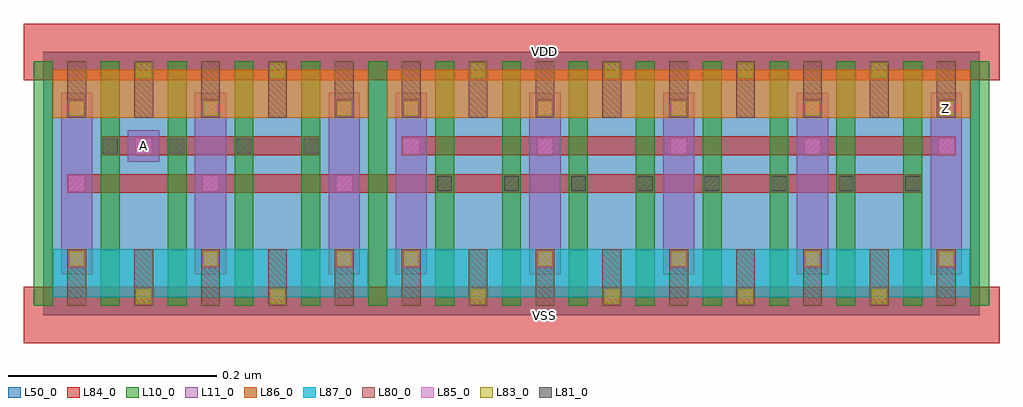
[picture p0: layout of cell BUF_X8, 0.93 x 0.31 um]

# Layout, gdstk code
import gdstk
lib = gdstk.Library(unit=1e-6, precision=1e-09)
def R(c, l, rs):  # rectangles x0, y0, x1, y1
    for r in rs: c.add(gdstk.rectangle(r[:2], r[2:], *l))
def A(c, l, x, y, w, h, nx, ny, dx, dy):  # array of equal rectangles
    R(c, l, [(x+i*dx, y+j*dy, x+i*dx+w, y+j*dy+h) for i in range(nx) for j in range(ny)])
L10_0 = (10, 0)
L11_0 = (11, 0)
L50_0 = (50, 0)
L80_0 = (80, 0)
L81_0 = (81, 0)
L83_0 = (83, 0)
L84_0 = (84, 0)
L85_0 = (85, 0)
L86_0 = (86, 0)
L87_0 = (87, 0)

buf_x8 = lib.new_cell('BUF_X8')
A(buf_x8, L10_0, -0.009, 0.009, 0.018, 0.234, 6, 1, 0.064, 0)
A(buf_x8, L10_0, 0.311, 0.009, 0.018, 0.234, 5, 1, 0.064, 0)
A(buf_x8, L10_0, 0.631, 0.009, 0.018, 0.234, 5, 1, 0.064, 0)
R(buf_x8, L10_0, [(0.567,0.009,0.585,0.243), (0.631,0.009,0.649,0.243)])
A(buf_x8, L11_0, 0.017, 0.039, 0.03, 0.174, 3, 1, 0.128, 0)
A(buf_x8, L11_0, 0.337, 0.039, 0.03, 0.174, 3, 1, 0.128, 0)
A(buf_x8, L11_0, 0.593, 0.039, 0.03, 0.174, 3, 1, 0.128, 0)
R(buf_x8, L11_0, [(0.081,0.147,0.111,0.177)])
R(buf_x8, L50_0, [(0,0,0.896,0.252)])
A(buf_x8, L80_0, 0.023, 0.009, 0.018, 0.054, 10, 2, 0.064, 0.18)
A(buf_x8, L80_0, 0.599, 0.009, 0.018, 0.054, 5, 2, 0.064, 0.18)
A(buf_x8, L81_0, 0.377, 0.119, 0.014, 0.014, 8, 1, 0.064, 0)
A(buf_x8, L81_0, 0.057, 0.155, 0.014, 0.014, 4, 1, 0.064, 0)
A(buf_x8, L83_0, 0.409, 0.011, 0.014, 0.014, 4, 2, 0.128, 0.216)
A(buf_x8, L83_0, 0.025, 0.047, 0.014, 0.014, 3, 2, 0.128, 0.144)
A(buf_x8, L83_0, 0.345, 0.047, 0.014, 0.014, 3, 2, 0.128, 0.144)
A(buf_x8, L83_0, 0.601, 0.047, 0.014, 0.014, 3, 2, 0.128, 0.144)
R(buf_x8, L83_0, [(0.089,0.011,0.103,0.025), (0.217,0.011,0.231,0.025), (0.089,0.227,0.103,0.241), (0.217,0.227,0.231,0.241)])
A(buf_x8, L84_0, 0.023, 0.045, 0.018, 0.018, 3, 2, 0.128, 0.144)
A(buf_x8, L84_0, 0.343, 0.045, 0.018, 0.018, 3, 2, 0.128, 0.144)
A(buf_x8, L84_0, 0.599, 0.045, 0.018, 0.018, 3, 2, 0.128, 0.144)
R(buf_x8, L84_0, [(-0.019,-0.027,0.339,0.027), (0.301,-0.027,0.659,0.027), (0.557,-0.027,0.915,0.027), (0.023,0.117,0.393,0.135), (0.375,0.117,0.649,0.135), (0.631,0.117,0.841,0.135), (0.055,0.153,0.265,0.171), (0.343,0.153,0.617,0.171), (0.599,0.153,0.873,0.171), (-0.019,0.225,0.339,0.279), (0.301,0.225,0.659,0.279), (0.557,0.225,0.915,0.279)])
A(buf_x8, L85_0, 0.024, 0.046, 0.016, 0.016, 3, 3, 0.128, 0.072)
A(buf_x8, L85_0, 0.344, 0.046, 0.016, 0.016, 3, 2, 0.128, 0.108)
A(buf_x8, L85_0, 0.6, 0.046, 0.016, 0.016, 3, 2, 0.128, 0.108)
A(buf_x8, L85_0, 0.344, 0.19, 0.016, 0.016, 3, 1, 0.128, 0)
A(buf_x8, L85_0, 0.6, 0.19, 0.016, 0.016, 3, 1, 0.128, 0)
R(buf_x8, L85_0, [(0.088,0.154,0.104,0.17)])
R(buf_x8, L86_0, [(0.009,0.189,0.311,0.235), (0.329,0.189,0.631,0.235), (0.585,0.189,0.887,0.235)])
R(buf_x8, L87_0, [(0.009,0.017,0.311,0.063), (0.329,0.017,0.631,0.063), (0.585,0.017,0.887,0.063)])
buf_x8.add(gdstk.Label('VSS', (0.48,0), layer=88, texttype=0))
buf_x8.add(gdstk.Label('VDD', (0.48,0.252), layer=88, texttype=0))
buf_x8.add(gdstk.Label('Z', (0.863,0.198), layer=31, texttype=0))
buf_x8.add(gdstk.Label('A', (0.096,0.162), layer=31, texttype=0))

lib.write_gds('BUF_X8.gds')
